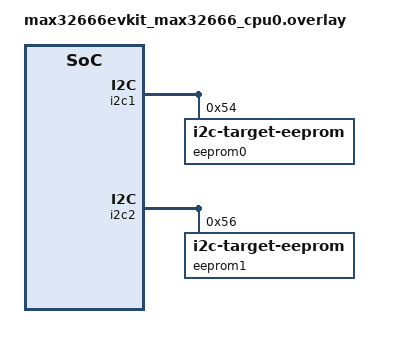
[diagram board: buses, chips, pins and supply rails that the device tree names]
/*
 * Copyright (c) 2024 Analog Devices, Inc.
 *
 * SPDX-License-Identifier: Apache-2.0
 */

&i2c1 {
	eeprom0: eeprom@54 {
		compatible = "zephyr,i2c-target-eeprom";
		reg = <0x54>;
		address-width = <16>;
		size = <1024>;
	};
};

&i2c2 {
	dmas = <&dma0 1 MAX32_DMA_SLOT_I2C2_TX>, <&dma0 2 MAX32_DMA_SLOT_I2C2_RX>;
	dma-names = "tx", "rx";

	eeprom1: eeprom@56 {
		compatible = "zephyr,i2c-target-eeprom";
		reg = <0x56>;
		address-width = <16>;
		size = <1024>;
	};
};
